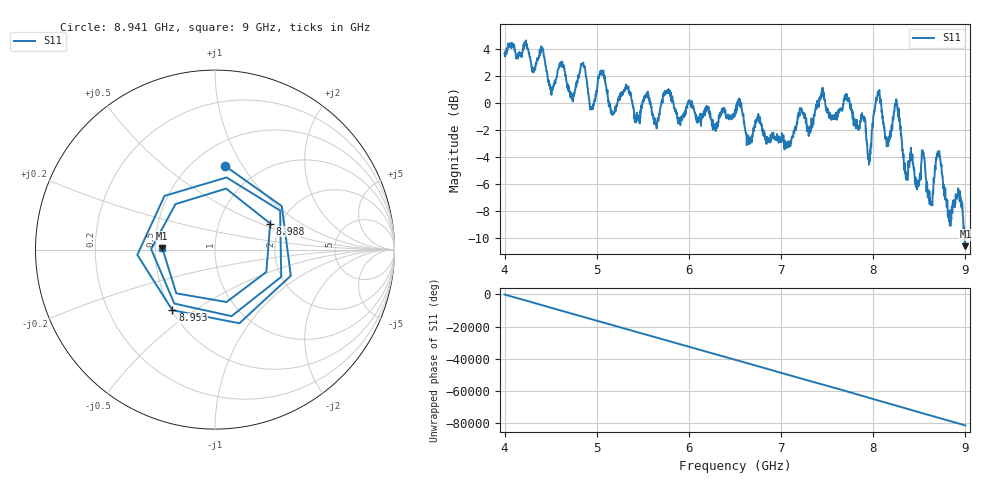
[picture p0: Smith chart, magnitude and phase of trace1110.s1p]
! Created with skrf 1.8.0 (http://scikit-rf.org).
# Hz S RI R 50.0
!freq ReS11 ImS11
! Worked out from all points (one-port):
!   1601 points, 4 GHz to 9 GHz, reference 50 ohm
!   lowest |S11| = -10.6 dB at 9 GHz (marker M1), VSWR 1.83, Z = 27.3 + j0.505 ohm
!   |S11| at or under -10 dB: 8.99052 GHz to 8.995982 GHz (5.462 MHz wide, 0.0607 % of centre); 8.997843 GHz to end of sweep
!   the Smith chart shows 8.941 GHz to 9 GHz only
!   S11 on the Smith chart (normalised r, x): 8.941 GHz: 0.70, +0.84; 8.953 GHz: 0.50, -0.41; 8.988 GHz: 1.77, +0.58; 9 GHz: 0.55, +0.01
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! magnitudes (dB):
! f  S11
! 4 GHz  3.7
! 4.406 GHz  3.9
! 4.509 GHz  0.6
! 4.625 GHz  3.0
! 4.731 GHz  0.3
! 4.847 GHz  2.9
! 4.941 GHz  -0.3
! 5.047 GHz  2.1
! 5.162 GHz  -0.7
! 5.25 GHz  0.2
! 5.875 GHz  -1.2
! 6.5 GHz  -0.6
! 7.125 GHz  -2.5
! 7.441 GHz  0.8
! 7.75 GHz  -0.1
! 7.953 GHz  -4.6
! 8.047 GHz  0.7
! 8.153 GHz  -2.9
! 8.253 GHz  0.2
! 8.375 GHz  -5.4
! 8.544 GHz  -3.8
! 8.619 GHz  -7.4
! 8.706 GHz  -3.7
! 8.822 GHz  -8.5
! 8.941 GHz  -6.6
! 8.953 GHz  -7.7
! 8.988 GHz  -9.4
! 9 GHz  -10.6
